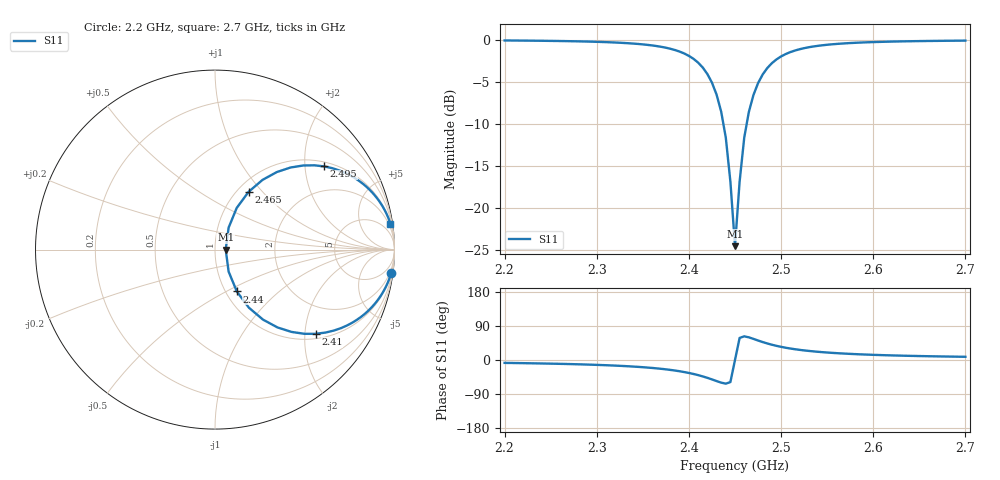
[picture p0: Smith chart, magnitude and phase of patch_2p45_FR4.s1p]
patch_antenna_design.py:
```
#!/usr/bin/env python3
"""Analytic rectangular microstrip patch antenna design with simple sweeps.

This script implements closed-form design equations for a rectangular
microstrip patch antenna on an FR-4 substrate. It produces quick parametric
sweeps for the inset depth and patch length and exports S-parameter data
using a simple RLC resonance model.

The implementation is intentionally lightweight and does not call a full EM
solver. Results are approximate but follow the design targets in
``patch_antenna_design_prompt.md``.
"""
from __future__ import annotations

import json
from dataclasses import dataclass
from math import acos, cos, pi, sqrt
from typing import Iterable, Tuple

import numpy as np

C0 = 299_792_458.0  # speed of light (m/s)


@dataclass
class Substrate:
    er: float
    h: float  # thickness (m)


@dataclass
class PatchDesign:
    freq: float  # design frequency (Hz)
    substrate: Substrate

    def patch_dimensions(self) -> Tuple[float, float, float, float]:
        """Return (W, L, eps_eff, delta_L)."""
        er, h = self.substrate.er, self.substrate.h
        f = self.freq
        W = C0 / (2 * f) * sqrt(2 / (er + 1))
        eps_eff = (er + 1) / 2 + (er - 1) / (2 * sqrt(1 + 12 * h / W))
        F1 = (eps_eff + 0.3) * (W / h + 0.264)
        F2 = (eps_eff - 0.258) * (W / h + 0.8)
        delta_L = 0.412 * h * F1 / F2
        L = C0 / (2 * f * sqrt(eps_eff)) - 2 * delta_L
        return W, L, eps_eff, delta_L

    @staticmethod
    def edge_resistance(W: float, L: float, er: float, eps_eff: float) -> float:
        return 90 * (eps_eff ** 2 / (er - 1)) * (L / W) ** 2

    @staticmethod
    def inset_resistance(R_edge: float, L: float, inset: float) -> float:
        # Feeding deeper into the patch decreases the input resistance.
        # The edge resistance is scaled by cos^2 of the inset position.
        return R_edge * (cos(pi * inset / L) ** 2)

    @staticmethod
    def resonance_freq(L: float, eps_eff: float, delta_L: float) -> float:
        return C0 / (2 * (L + 2 * delta_L) * sqrt(eps_eff))

    @staticmethod
    def input_impedance(f: float, f0: float, R: float, Q: float) -> complex:
        X = R * 2 * Q * (f / f0 - f0 / f)
        return complex(R, X)


def s11_from_z(z: complex) -> complex:
    return (z - 50) / (z + 50)


def sweep_inset(design: PatchDesign, y0_range: Iterable[float], W: float, L: float,
                R_edge: float) -> Tuple[np.ndarray, np.ndarray]:
    s11 = []
    for y0 in y0_range:
        Rin = design.inset_resistance(R_edge, L, y0)
        gamma = s11_from_z(complex(Rin, 0))
        s11.append(20 * np.log10(abs(gamma)))
    return np.array(y0_range), np.array(s11)


def sweep_length(design: PatchDesign, L_vals: Iterable[float], inset: float,
                 W: float, eps_eff: float, delta_L: float, Q: float) -> Tuple[np.ndarray, np.ndarray, np.ndarray]:
    fres, s11 = [], []
    for L in L_vals:
        f0 = design.resonance_freq(L, eps_eff, delta_L)
        R_edge = design.edge_resistance(W, L, design.substrate.er, eps_eff)
        Rin = design.inset_resistance(R_edge, L, inset)
        Zin = design.input_impedance(design.freq, f0, Rin, Q)
        gamma = s11_from_z(Zin)
        fres.append(f0)
        s11.append(20 * np.log10(abs(gamma)))
    return np.array(L_vals), np.array(fres), np.array(s11)


def export_sparameters(filename: str, design: PatchDesign, freqs: np.ndarray,
                       L: float, inset: float, W: float,
                       eps_eff: float, delta_L: float, Q: float) -> None:
    R_edge = design.edge_resistance(W, L, design.substrate.er, eps_eff)
    Rin = design.inset_resistance(R_edge, L, inset)
    f0 = design.resonance_freq(L, eps_eff, delta_L)

    with open(filename, "w", encoding="utf-8") as f:
        f.write("# Hz S RI R 50\n")
        for fr in freqs:
            Zin = design.input_impedance(fr, f0, Rin, Q)
            gamma = s11_from_z(Zin)
            f.write(f"{fr} {gamma.real} {gamma.imag}\n")


def export_csv(filename: str, design: PatchDesign, freqs: np.ndarray,
               L: float, inset: float, W: float,
               eps_eff: float, delta_L: float, Q: float) -> None:
    R_edge = design.edge_resistance(W, L, design.substrate.er, eps_eff)
    Rin = design.inset_resistance(R_edge, L, inset)
    f0 = design.resonance_freq(L, eps_eff, delta_L)

    with open(filename, "w", encoding="utf-8") as f:
        f.write("freq_hz,s11_db,rin,xin\n")
        for fr in freqs:
            Zin = design.input_impedance(fr, f0, Rin, Q)
            gamma = s11_from_z(Zin)
            f.write(f"{fr},{20*np.log10(abs(gamma))},{Zin.real},{Zin.imag}\n")


def export_geo(filename: str, W: float, L: float, inset: float, feed_w: float,
               board_x: float = 0.08, board_y: float = 0.07,
               h: float = 1.6e-3, air: float = 0.0306) -> None:
    """Write a minimal parametric Gmsh geometry file."""
    with open(filename, "w", encoding="utf-8") as g:
        g.write('SetFactory("OpenCASCADE");\n')
        g.write('// Units: meters\n')
        g.write(f'h={h}; W={W}; L={L}; inset={inset}; feedW={feed_w};\n')
        g.write(f'board_x={board_x}; board_y={board_y}; air={air};\n')
        g.write('Rectangle(1) = {-board_x/2, -board_y/2, 0, board_x, board_y};\n')
        g.write('Rectangle(2) = {-W/2, -L/2, h, W, L};\n')
        g.write('Rectangle(3) = {-feedW/2, -board_y/2, h, feedW, board_y/2 - L/2 + inset};\n')
        g.write('Rectangle(4) = {-feedW/2, -L/2, h, feedW, inset};\n')
        g.write('tmp1[] = BooleanDifference{ Surface{2}; Delete; }{ Surface{4}; Delete; };\n')
        g.write('tmp2[] = BooleanUnion{ Surface{tmp1[0]}; Delete; }{ Surface{3}; Delete; };\n')
        g.write('Rectangle(5) = {-(board_x/2+air), -(board_y/2+air), -air, board_x+2*air, board_y+2*air};\n')
        g.write('Extrude {0,0,h} { Surface{1}; }\n')
        g.write('Extrude {0,0,h+air} { Surface{5}; }\n')


def main() -> None:
    sub = Substrate(er=4.4, h=1.6e-3)
    design = PatchDesign(freq=2.45e9, substrate=sub)
    W, L, eps_eff, delta_L = design.patch_dimensions()
    R_edge = design.edge_resistance(W, L, sub.er, eps_eff)

    # Inset depth sweep 4..11 mm
    y0_vals_m = np.linspace(4e-3, 11e-3, 8)
    y0_vals, s11_y0 = sweep_inset(design, y0_vals_m, W, L, R_edge)
    best_idx = np.argmin(s11_y0)
    best_y0 = y0_vals_m[best_idx]

    # Length sweep around nominal L
    L_vals = np.linspace(L - 0.6e-3, L + 0.6e-3, 7)
    Q = design.freq / 80e6  # target ~80 MHz bandwidth
    L_sweep, fres, s11_L = sweep_length(design, L_vals, best_y0, W, eps_eff, delta_L, Q)
    best_L = L_vals[np.argmin(s11_L)]

    # Frequency sweep for final design
    freqs = np.linspace(2.2e9, 2.7e9, 101)
    export_sparameters("examples/patch_2p45_FR4.s1p", design, freqs, best_L, best_y0, W, eps_eff, delta_L, Q)
    export_csv("examples/patch_sparams.csv", design, freqs, best_L, best_y0, W, eps_eff, delta_L, Q)
    export_geo("examples/patch_antenna.geo", W, best_L, best_y0, 3.08e-3)

    summary = {
        "freq_hz": design.freq,
        "substrate": {"er": sub.er, "h_m": sub.h},
        "patch_width_m": W,
        "patch_length_m": best_L,
        "inset_depth_m": best_y0,
        "feed_width_m": 3.08e-3,
        "quality_factor": Q,
    }
    with open("examples/patch_design.json", "w", encoding="utf-8") as f:
        json.dump(summary, f, indent=2)
        f.write("\n")

    # Console report
    print("Inset depth sweep (mm vs S11 dB):")
    for mm_val, s in zip(y0_vals * 1e3, s11_y0):
        print(f"  {mm_val:4.1f} mm : {s:6.2f} dB")
    print(f"Best inset ≈ {best_y0*1e3:.2f} mm")

    print("Length sweep (mm, f_res GHz, S11 dB):")
    for Lm, fr, s in zip(L_sweep * 1e3, fres, s11_L):
        print(f"  {Lm:5.2f} mm : {fr/1e9:6.3f} GHz : {s:6.2f} dB")
    print(f"Best length ≈ {best_L*1e3:.2f} mm")

    print(
        "Outputs written: examples/patch_sparams.csv, examples/patch_2p45_FR4.s1p,"
        " examples/patch_antenna.geo, examples/patch_design.json"
    )


if __name__ == "__main__":
    main()
```
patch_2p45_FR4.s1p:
# Hz S RI R 50
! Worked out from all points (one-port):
!   101 points, 2.2 GHz to 2.7 GHz, reference 50 ohm
!   lowest |S11| = -24.5 dB at 2.45 GHz (marker M1), VSWR 1.13, Z = 56.3 + j0 ohm
!   |S11| at or under -10 dB: 2.437 GHz to 2.463 GHz (25.28 MHz wide, 1.03 % of centre)
!   S11 on the Smith chart (normalised r, x): 2.2 GHz: 1, -15; 2.41 GHz: 1.13, -2.27; 2.44 GHz: 1.13, -0.56; 2.465 GHz: 1.13, +0.84; 2.495 GHz: 1.13, +2.51; 2.7 GHz: 1, +13
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2.2e9  0.9812 -0.1317
2.31e9  0.9397 -0.2303
2.37e9  0.8334 -0.359
2.41e9  0.5609 -0.4691
2.43e9  0.2671 -0.3899
2.44e9  0.1216 -0.2332
2.445e9  0.0759 -0.1225
2.45e9  0.0597 0
2.455e9  0.0758 0.1223
2.465e9  0.1872 0.322
2.475e9  0.3443 0.432
2.495e9  0.6075 0.4637
2.535e9  0.8407 0.3528
2.7e9  0.977 0.1452
